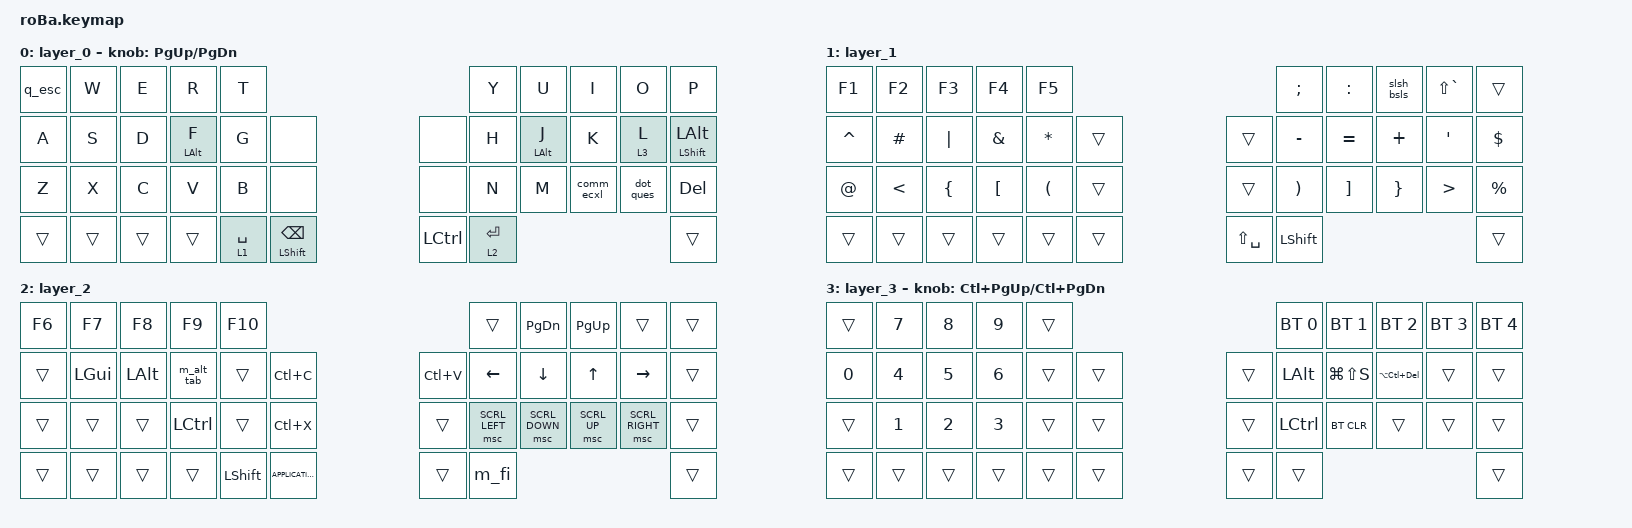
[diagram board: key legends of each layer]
#include <behaviors.dtsi>
#include <dt-bindings/zmk/bt.h>
#include <dt-bindings/zmk/keys.h>
#include <dt-bindings/zmk/pointing.h>

&trackball {
    //    automouse-layer = <4>;

    scroll-layers = <3>;

    // arrows {
    //     layers = <3>;
    //     bindings =
    //         <&kp RIGHT_ARROW>,
    //         <&kp LEFT_ARROW>,
    //         <&kp UP_ARROW>,
    //         <&kp DOWN_ARROW>;
    //     tick = <10>;
    //     wait-ms = <5>;
    //     tap-ms = <5>;
    // };
};

/ {
    combos {
        compatible = "zmk,combos";

        tab {
            bindings = <&kp TAB>;
            key-positions = <11 12>;
        };

        shift_tab {
            bindings = <&kp LS(TAB)>;
            key-positions = <12 13>;
        };

        left_click {
            bindings = <&mkp LCLK>;
            key-positions = <18 19>;
        };

        right_click {
            bindings = <&mkp RCLK>;
            key-positions = <19 20>;
        };

        btn4 {
            bindings = <&mkp MB4>;
            key-positions = <30 31>;
        };

        btn5 {
            bindings = <&mkp MB5>;
            key-positions = <32 31>;
        };
    };

    behaviors {
        dot_ques: dot_ques {
            compatible = "zmk,behavior-mod-morph";
            label = "DOT_QUES";
            bindings = <&kp PERIOD>, <&kp QUESTION>;

            #binding-cells = <0>;
            mods = <(MOD_LSFT|MOD_RSFT)>;
        };

        comm_ecxl: comm_ecxl {
            compatible = "zmk,behavior-mod-morph";
            label = "COMM_ECXL";
            bindings = <&kp COMMA>, <&kp EXCLAMATION>;

            #binding-cells = <0>;
            mods = <(MOD_LSFT|MOD_RSFT)>;
        };

        slsh_bsls: slsh_bsls {
            compatible = "zmk,behavior-mod-morph";
            label = "SLSH_BSLS";
            bindings = <&kp SLASH>, <&kp BACKSLASH>;

            #binding-cells = <0>;
            mods = <(MOD_LSFT|MOD_RSFT)>;
        };

        q_esc: q_esc {
            compatible = "zmk,behavior-tap-dance";
            label = "Q_ESC";
            #binding-cells = <0>;
            bindings = <&kp Q>, <&kp ESCAPE>;

            tapping-term-ms = <200>;
        };

        lt_enter_fast: lt_enter_fast {
            compatible = "zmk,behavior-hold-tap";
            label = "LT_ENTER_FAST";
            bindings = <&mo>, <&kp>;
            #binding-cells = <2>;
            tapping-term-ms = <180>;
            quick-tap-ms = <200>;
            flavor = "tap-preferred";
        };

        backspac_fast: backspac_fast {
            compatible = "zmk,behavior-hold-tap";
            label = "BACKSPAC_FAST";
            bindings = <&kp>, <&kp>;

            #binding-cells = <2>;
            tapping-term-ms = <200>;
            quick-tap-ms = <200>;
            flavor = "tap-preferred";
        };

        lt_spac_fast: lt_spac_fast {
            compatible = "zmk,behavior-hold-tap";
            label = "LT_SPAC_FAST";
            bindings = <&mo>, <&kp>;

            #binding-cells = <2>;
            tapping-term-ms = <200>;
            quick-tap-ms = <200>;
            flavor = "tap-preferred";
        };
    };

    macros {
        m_alt_tab: m_alt_tab {
            compatible = "zmk,behavior-macro";
            #binding-cells = <0>;
            bindings = <&macro_press &kp LALT>, <&macro_tap &kp TAB>;

            label = "M_ALT_TAB";
        };

        m_fi: m_fi {
            compatible = "zmk,behavior-macro";
            #binding-cells = <0>;
            wait-ms = <0>;
            tap-ms = <0>;
            bindings = <&macro_release &kp LALT>;
            label = "M_FI";
        };
    };

    keymap {
        compatible = "zmk,keymap";

        layer_0 {
            bindings = <
&q_esc  &kp W   &kp E   &kp R           &kp T                                                                             &kp Y                   &kp U           &kp I       &kp O      &kp P
&kp A   &kp S   &kp D   &mt LEFT_ALT F  &kp G                  &none                                    &none             &kp H                   &mt LEFT_ALT J  &kp K       &lt 3 L    &mt LEFT_SHIFT LEFT_ALT
&kp Z   &kp X   &kp C   &kp V           &kp B                  &none                                    &none             &kp N                   &kp M           &comm_ecxl  &dot_ques  &kp DELETE
&trans  &trans  &trans  &trans          &lt_spac_fast 1 SPACE  &backspac_fast LEFT_SHIFT BACKSPACE      &kp LEFT_CONTROL  &lt_enter_fast 2 ENTER                                         &trans
            >;

            sensor-bindings = <&inc_dec_kp PG_UP PAGE_DOWN>;
        };

        layer_1 {
            bindings = <
&kp F1       &kp F2         &kp F3          &kp F4            &kp F5                                           &kp SEMICOLON          &kp COLON          &slsh_bsls       &kp LS(GRAVE)     &trans
&kp CARET    &kp HASH       &kp PIPE        &kp AMPERSAND     &kp ASTERISK          &trans      &trans         &kp MINUS              &kp EQUAL          &kp PLUS         &kp SQT           &kp DOLLAR
&kp AT_SIGN  &kp LESS_THAN  &kp LEFT_BRACE  &kp LEFT_BRACKET  &kp LEFT_PARENTHESIS  &trans      &trans         &kp RIGHT_PARENTHESIS  &kp RIGHT_BRACKET  &kp RIGHT_BRACE  &kp GREATER_THAN  &kp PERCENT
&trans       &trans         &trans          &trans            &trans                &trans      &kp LS(SPACE)  &kp LEFT_SHIFT                                                               &trans
            >;
        };

        layer_2 {
            bindings = <
&kp F6  &kp F7        &kp F8        &kp F9            &kp F10                                           &trans          &kp PAGE_DOWN   &kp PAGE_UP   &trans           &trans
&trans  &kp LEFT_GUI  &kp LEFT_ALT  &m_alt_tab        &trans          &kp LC(C)              &kp LC(V)  &kp LEFT        &kp DOWN        &kp UP_ARROW  &kp RIGHT        &trans
&trans  &trans        &trans        &kp LEFT_CONTROL  &trans          &kp LC(X)              &trans     &msc SCRL_LEFT  &msc SCRL_DOWN  &msc SCRL_UP  &msc SCRL_RIGHT  &trans
&trans  &trans        &trans        &trans            &kp LEFT_SHIFT  &kp K_APPLICATION      &trans     &m_fi                                                          &trans
            >;
        };

        layer_3 {
            bindings = <
&trans  &kp N7        &kp N8        &kp N9        &trans                      &bt BT_SEL 0      &bt BT_SEL 1   &bt BT_SEL 2     &bt BT_SEL 3  &bt BT_SEL 4
&kp N0  &kp NUMBER_4  &kp N5        &kp NUMBER_6  &trans  &trans      &trans  &kp LEFT_ALT      &kp LG(LS(S))  &kp LA(LC(DEL))  &trans        &trans
&trans  &kp NUMBER_1  &kp NUMBER_2  &kp NUMBER_3  &trans  &trans      &trans  &kp LEFT_CONTROL  &bt BT_CLR     &trans           &trans        &trans
&trans  &trans        &trans        &trans        &trans  &trans      &trans  &trans                                                          &trans
            >;

            sensor-bindings = <&inc_dec_kp LC(PAGE_UP) LC(PAGE_DOWN)>;
        };
    };
};
